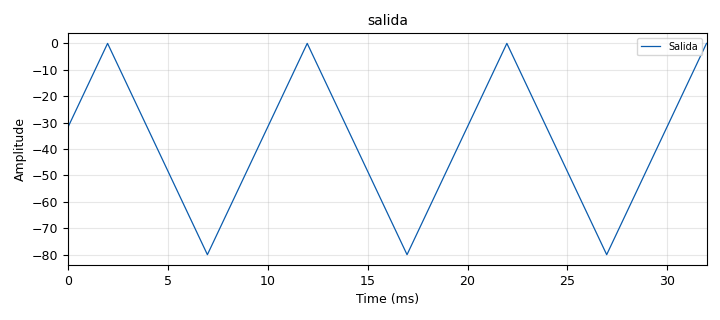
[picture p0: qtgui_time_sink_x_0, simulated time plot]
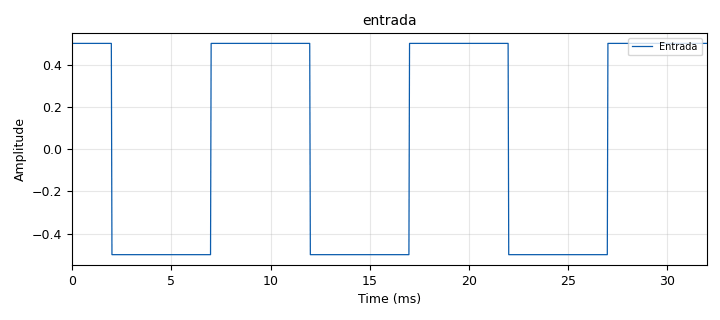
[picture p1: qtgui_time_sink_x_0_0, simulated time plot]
options:
  parameters:
    author: manue
    generate_options: qt_gui
    id: P1Manuel
    output_language: python
    title: Not titled yet
  states: {}

blocks:
- name: samp_rate
  id: variable
  parameters:
    value: '32000'
  states: {}
- name: analog_sig_source_x_0
  id: analog_sig_source_x
  parameters:
    amp: '1'
    freq: '100'
    offset: '-0.5'
    phase: '0'
    samp_rate: samp_rate
    type: float
    waveform: analog.GR_SQR_WAVE
  states: {}
- name: epy_block_0_0
  id: epy_block
  parameters:
    _source_code: |-
      #!/usr/bin/env python
      # -*- coding: utf-8 -*-
      #

      from gnuradio import gr
      import numpy as np

      class blk(gr.sync_block):
          def __init__(self):
              gr.sync_block.__init__(self,
                  name="Acumulador",
                  in_sig=[np.float32],
                  out_sig=[np.float32])
              self.cum_sum = 0.0  # CAMBIO 1: Variable para memoria entre lotes

          def work(self, input_items, output_items):
              x = input_items[0]
              y0 = output_items[0]
              
              # CAMBIO 2: Usar variable local para acumulación
              acum_actual = self.cum_sum
              
              for i in range(len(x)):
                  acum_actual += x[i]
                  y0[i] = acum_actual
              
              # CAMBIO 3: Guardar para el siguiente lote
              self.cum_sum = acum_actual
              
              # MEJORA: Reset por desbordamiento (1 línea)
              if abs(self.cum_sum) > 1e6:
                  self.cum_sum = 0.0
                  
              return len(y0)
  states: {}
- name: qtgui_time_sink_x_0
  id: qtgui_time_sink_x
  parameters:
    autoscale: 'True'
    color1: dark blue
    label1: Salida
    name: salida
    size: '1024'
    srate: samp_rate
    type: float
  states: {}
- name: qtgui_time_sink_x_0_0
  id: qtgui_time_sink_x
  parameters:
    autoscale: 'True'
    color1: magenta
    label1: Entrada
    name: entrada
    size: '1024'
    srate: samp_rate
    type: float
  states: {}

connections:
- [analog_sig_source_x_0, '0', epy_block_0_0, '0']
- [analog_sig_source_x_0, '0', qtgui_time_sink_x_0_0, '0']
- [epy_block_0_0, '0', qtgui_time_sink_x_0, '0']

metadata:
  file_format: 1
  grc_version: 3.10.12.0
